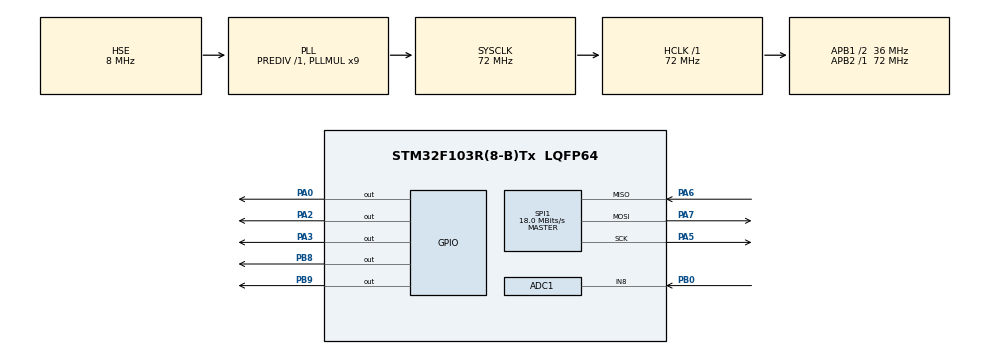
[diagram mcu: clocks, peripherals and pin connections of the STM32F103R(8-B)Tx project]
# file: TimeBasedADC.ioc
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ADC1.Channel-27\#ChannelRegularConversion=ADC_CHANNEL_8
ADC1.ExternalTrigConv=ADC_EXTERNALTRIGCONV_T3_TRGO
ADC1.NbrOfConversionFlag=1
ADC1.Rank-27\#ChannelRegularConversion=1
ADC1.SamplingTime-27\#ChannelRegularConversion=ADC_SAMPLETIME_13CYCLES_5
ADC1.master=1
Dma.ADC1.1.Direction=DMA_PERIPH_TO_MEMORY
Dma.ADC1.1.Instance=DMA1_Channel1
Dma.ADC1.1.MemDataAlignment=DMA_MDATAALIGN_HALFWORD
Dma.ADC1.1.MemInc=DMA_MINC_ENABLE
Dma.ADC1.1.Mode=DMA_CIRCULAR
Dma.ADC1.1.PeriphDataAlignment=DMA_PDATAALIGN_HALFWORD
Dma.ADC1.1.PeriphInc=DMA_PINC_DISABLE
Dma.ADC1.1.Priority=DMA_PRIORITY_LOW
Dma.Request0=SPI1_TX
Dma.Request1=ADC1
Dma.SPI1_TX.0.Direction=DMA_MEMORY_TO_PERIPH
Dma.SPI1_TX.0.Instance=DMA1_Channel3
Dma.SPI1_TX.0.MemDataAlignment=DMA_MDATAALIGN_BYTE
Dma.SPI1_TX.0.MemInc=DMA_MINC_ENABLE
Dma.SPI1_TX.0.Mode=DMA_NORMAL
Dma.SPI1_TX.0.PeriphDataAlignment=DMA_PDATAALIGN_BYTE
Dma.SPI1_TX.0.PeriphInc=DMA_PINC_DISABLE
Dma.SPI1_TX.0.Priority=DMA_PRIORITY_LOW
Mcu.Family=STM32F1
Mcu.Name=STM32F103R(8-B)Tx
Mcu.Package=LQFP64
NVIC.ADC1_2_IRQn=true\:0\:0\:false\:false\:true\:true\:true
NVIC.DMA1_Channel1_IRQn=true\:0\:0\:false\:false\:true\:false\:true
NVIC.DMA1_Channel3_IRQn=true\:0\:0\:false\:false\:true\:false\:true
NVIC.PriorityGroup=NVIC_PRIORITYGROUP_4
NVIC.SPI1_IRQn=true\:0\:0\:false\:false\:true\:true\:true
NVIC.TIM3_IRQn=true\:0\:0\:true\:false\:true\:true\:true
PA0-WKUP.Signal=GPIO_Output
PA2.Signal=GPIO_Output
PA3.Signal=GPIO_Output
PA5.Mode=Full_Duplex_Master
PA5.Signal=SPI1_SCK
PA6.Mode=Full_Duplex_Master
PA6.Signal=SPI1_MISO
PA7.Mode=Full_Duplex_Master
PA7.Signal=SPI1_MOSI
PB0.Signal=ADCx_IN8
PB8.Signal=GPIO_Output
PB9.Signal=GPIO_Output
PC14-OSC32_IN.Mode=LSE-External-Oscillator
PC14-OSC32_IN.Signal=RCC_OSC32_IN
PC15-OSC32_OUT.Mode=LSE-External-Oscillator
PC15-OSC32_OUT.Signal=RCC_OSC32_OUT
PD0-OSC_IN.Mode=HSE-External-Oscillator
PD0-OSC_IN.Signal=RCC_OSC_IN
PD1-OSC_OUT.Mode=HSE-External-Oscillator
PD1-OSC_OUT.Signal=RCC_OSC_OUT
ProjectManager.HeapSize=0x200
ProjectManager.StackSize=0x400
ProjectManager.TargetToolchain=MDK-ARM V5.27
RCC.ADCPresc=RCC_ADCPCLK2_DIV6
RCC.AHBFreq_Value=72000000
RCC.APB1CLKDivider=RCC_HCLK_DIV2
RCC.APB1Freq_Value=36000000
RCC.APB1TimFreq_Value=72000000
RCC.APB2Freq_Value=72000000
RCC.APB2TimFreq_Value=72000000
RCC.HCLKFreq_Value=72000000
RCC.PLLMUL=RCC_PLL_MUL9
RCC.PLLSourceVirtual=RCC_PLLSOURCE_HSE
RCC.SYSCLKFreq_VALUE=72000000
RCC.SYSCLKSource=RCC_SYSCLKSOURCE_PLLCLK
RCC.USBFreq_Value=72000000
SH.ADCx_IN8.0=ADC1_IN8,IN8
SPI1.BaudRatePrescaler=SPI_BAUDRATEPRESCALER_4
SPI1.CalculateBaudRate=18.0 MBits/s
SPI1.Direction=SPI_DIRECTION_2LINES
SPI1.Mode=SPI_MODE_MASTER
SPI1.VirtualType=VM_MASTER
TIM3.AutoReloadPreload=TIM_AUTORELOAD_PRELOAD_DISABLE
TIM3.Period=1632
TIM3.Prescaler=0
TIM3.TIM_MasterOutputTrigger=TIM_TRGO_UPDATE
TIM3.TIM_MasterSlaveMode=TIM_MASTERSLAVEMODE_DISABLE
VP_SYS_VS_ND.Mode=No_Debug
VP_TIM3_VS_ClockSourceINT.Mode=Internal
board=custom

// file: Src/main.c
/* USER CODE BEGIN Header */
/**
  ******************************************************************************
  * @file           : main.c
  * @brief          : Main program body
  ******************************************************************************
  * @attention
  *
  * <h2><center>&copy; Copyright (c) 2020 STMicroelectronics.
  * All rights reserved.</center></h2>
  *
  * This software component is licensed by ST under BSD 3-Clause license,
  * the "License"; You may not use this file except in compliance with the
  * License. You may obtain a copy of the License at:
  *                        opensource.org/licenses/BSD-3-Clause
  *
  ******************************************************************************
  */
/* USER CODE END Header */

#include "main.h"
#include "adc.h"
#include "dma.h"
#include "spi.h"
#include "tim.h"
#include "gpio.h"

/* USER CODE BEGIN Includes */
#include "ST7735_config.h"
#include "ST7735.h"
#include "hann_window.h"
#include "gauss_window.h"
/* USER CODE END Includes */

/* USER CODE BEGIN PD */
#define FFT_INVERSE_FLAG        ((uint8_t)0)
#define FFT_Normal_OUTPUT_FLAG  ((uint8_t)1)
/* USER CODE END PD */

/* USER CODE BEGIN PV */
// uint16_t uhADCxConvertedValue;
//
//uint16_t index_input_buffer = 0;
q15_t FFT_Input_q15[FFT_Length];
q15_t FFT_Output_q15[FFT_Length * 2];
/* USER CODE END PV */

void SystemClock_Config(void);

int main(void)
{
  /* USER CODE BEGIN 1 */
//  char adcValue[5];
  arm_rfft_instance_q15 FFT_struct;

  q15_t maxValue = 0;
  uint32_t maxIndex = 0;
  /* USER CODE END 1 */

  /* MCU Configuration--------------------------------------------------------*/

  /* Reset of all peripherals, Initializes the Flash interface and the Systick. */
  HAL_Init();

  /* Configure the system clock */
  SystemClock_Config();

  /* Initialize all configured peripherals */
  MX_GPIO_Init();
  MX_DMA_Init();
  MX_ADC1_Init();
  MX_SPI1_Init();
  MX_TIM3_Init();
  /* USER CODE BEGIN 2 */
  while(HAL_ADCEx_Calibration_Start(&hadc1) != HAL_OK);

  HAL_ADC_Start_DMA(&hadc1, (uint32_t*)&adcSample, 1);
  HAL_TIM_Base_Start_IT(&htim3);

  // Initialize TFT screen
  ST7735_Init();
  ST7735_SetRotation(1);
  ST7735_FillScreen(ST7735_BLACK);
  ST7735_DrawString(0, 0, "Starting main loop...", Font_7x10, ST7735_RED, ST7735_BLACK);
  /* USER CODE END 2 */

  /* Infinite loop */
  while (1)
  {

    /* USER CODE BEGIN 3 */
    char value[4];
    sprintf(value, "%d", adcBuffer[0]);
    ST7735_DrawString(0, 0, value, Font_7x10, ST7735_RED, ST7735_BLACK);

    if(adcBufferReady) {
       for(uint16_t i = 0; i < FFT_Length; i++){
          FFT_Input_q15[(uint16_t) i] = (q15_t) (adcBuffer[i] << 3);
        }

 #if defined(FFT_APPLY_WINDOW)
        // Apply a window to the input
        arm_mult_q15(FFT_Input_q15, WindowCoefficients, FFT_Input_q15, FFT_Length);
 #endif

        // Initialize FFT struct
        arm_rfft_init_q15(&FFT_struct, FFT_Length, FFT_INVERSE_FLAG, FFT_Normal_OUTPUT_FLAG);
        // Perform real FFT
        arm_rfft_q15(&FFT_struct, FFT_Input_q15, FFT_Output_q15);
        // Calculate magnitude in each bin
        arm_abs_q15(FFT_Input_q15, FFT_Output_q15, FFT_Length);

        // Remove DC Offset
        FFT_Output_q15[0] = 0;
        FFT_Output_q15[1] = 0;

        // Calculate Max value and return the value:
        arm_max_q15(FFT_Output_q15, FFT_Length / 2, &maxValue, &maxIndex);

        ST7735_FillScreen(ST7735_BLACK);
        for(uint16_t i = 0; i < FFT_Length / 2; i++){
          ST7735_DrawFastHLine(0, i, (uint16_t) (FFT_Output_q15[i] >> 1), ST7735_WHITE);
          // ST7735_DrawFastVLine(i, 0, (uint16_t) (FFT_Output_q15[i] >> 1), ST7735_WHITE);
        }
        adcBufferReady = 0;
      }
   }
  /* USER CODE END 3 */
}

void SystemClock_Config(void)
{
  RCC_OscInitTypeDef RCC_OscInitStruct = {0};
  RCC_ClkInitTypeDef RCC_ClkInitStruct = {0};
  RCC_PeriphCLKInitTypeDef PeriphClkInit = {0};

  /** Initializes the CPU, AHB and APB busses clocks
  */
  RCC_OscInitStruct.OscillatorType = RCC_OSCILLATORTYPE_HSE;
  RCC_OscInitStruct.HSEState = RCC_HSE_ON;
  RCC_OscInitStruct.HSEPredivValue = RCC_HSE_PREDIV_DIV1;
  RCC_OscInitStruct.HSIState = RCC_HSI_ON;
  RCC_OscInitStruct.PLL.PLLState = RCC_PLL_ON;
  RCC_OscInitStruct.PLL.PLLSource = RCC_PLLSOURCE_HSE;
  RCC_OscInitStruct.PLL.PLLMUL = RCC_PLL_MUL9;
  if (HAL_RCC_OscConfig(&RCC_OscInitStruct) != HAL_OK)
  {
    Error_Handler();
  }
  /** Initializes the CPU, AHB and APB busses clocks
  */
  RCC_ClkInitStruct.ClockType = RCC_CLOCKTYPE_HCLK|RCC_CLOCKTYPE_SYSCLK
                              |RCC_CLOCKTYPE_PCLK1|RCC_CLOCKTYPE_PCLK2;
  RCC_ClkInitStruct.SYSCLKSource = RCC_SYSCLKSOURCE_PLLCLK;
  RCC_ClkInitStruct.AHBCLKDivider = RCC_SYSCLK_DIV1;
  RCC_ClkInitStruct.APB1CLKDivider = RCC_HCLK_DIV2;
  RCC_ClkInitStruct.APB2CLKDivider = RCC_HCLK_DIV1;

  if (HAL_RCC_ClockConfig(&RCC_ClkInitStruct, FLASH_LATENCY_2) != HAL_OK)
  {
    Error_Handler();
  }
  PeriphClkInit.PeriphClockSelection = RCC_PERIPHCLK_ADC;
  PeriphClkInit.AdcClockSelection = RCC_ADCPCLK2_DIV6;
  if (HAL_RCCEx_PeriphCLKConfig(&PeriphClkInit) != HAL_OK)
  {
    Error_Handler();
  }
}

void Error_Handler(void)
{
  /* USER CODE BEGIN Error_Handler_Debug */
  /* User can add his own implementation to report the HAL error return state */
  HAL_GPIO_WritePin(GPIOA, GPIO_PIN_2, GPIO_PIN_SET);
  /* USER CODE END Error_Handler_Debug */
}

/************************ (C) COPYRIGHT STMicroelectronics *****END OF FILE****/
